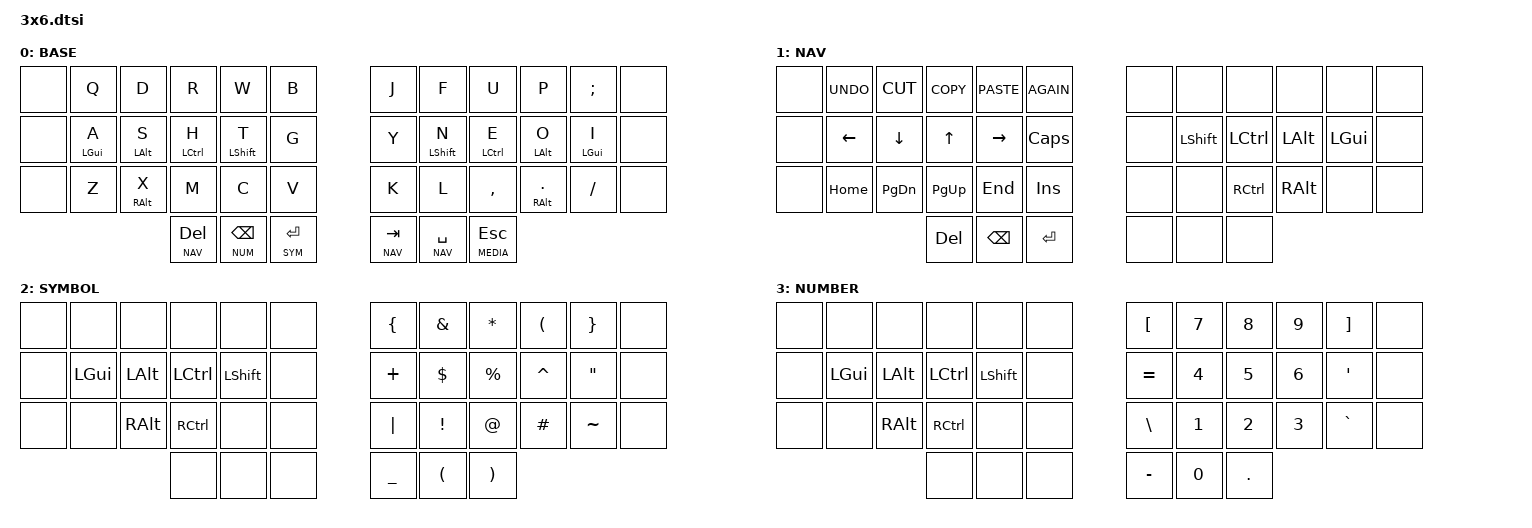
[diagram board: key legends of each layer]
#include <behaviors.dtsi>
#include <dt-bindings/zmk/keys.h>
#include <dt-bindings/zmk/bt.h>
#include <dt-bindings/zmk/rgb.h>

#include "custom.h"

// #include "shift_functions.dtsi"

// Layer aliases
#define BASE 0
#define NAV 1
#define SYM 2
#define NUM 3
#define MEDIA 4

&mt {
    flavor = "hold-preferred";
    tapping-term-ms = <U_TAPPING_TERM>;
};

&lt {
    flavor = "balanced";
    tapping-term-ms = <U_TAPPING_TERM>;
};

/ {
    keymap {
        compatible = "zmk,keymap";

        default_layer {
            display-name = "BASE";
            bindings = <
// ╭─────────────┬─────────────┬─────────────┬─────────────┬─────────────┬─────────────╮   ╭─────────────┬─────────────┬─────────────┬─────────────┬─────────────┬─────────────╮
     &none         &kp Q         &kp D         &kp R         &kp W         &kp B             &kp J         &kp F         &kp U         &kp P         &kp SEMI      &none
// ├─────────────┼─────────────┼─────────────┼─────────────┼─────────────┼─────────────┤   ├─────────────┼─────────────┼─────────────┼─────────────┼─────────────┼─────────────┤
     &none         &mt LGUI A    &mt LALT S    &mt LCTRL H   &mt LSHFT T   &kp G             &kp Y         &mt LSHFT N   &mt LCTRL E   &mt LALT O    &mt LGUI I    &none
// ├─────────────┼─────────────┼─────────────┼─────────────┼─────────────┼─────────────┤   ├─────────────┼─────────────┼─────────────┼─────────────┼─────────────┼─────────────┤
     &none         &kp Z         &mt RALT X    &kp M         &kp C         &kp V             &kp K         &kp L         &kp COMMA     &mt RALT DOT  &kp SLASH     &none
// ╰─────────────┴─────────────┴─────────────┴─────────────┼─────────────┼─────────────┤   ├─────────────┼─────────────┼─────────────┴─────────────┴─────────────┴─────────────╯
                                               &lt NAV DEL   &lt NUM BSPC  &lt SYM RET       &lt NAV TAB   &lt NAV SPACE &lt MEDIA ESC
//                                           ╰─────────────┴─────────────┴─────────────╯   ╰─────────────┴─────────────┴─────────────╯
            >;
        };

        navigation_layer {
            display-name = "NAV";
            bindings = <
// ╭─────────────┬─────────────┬─────────────┬─────────────┬─────────────┬─────────────╮   ╭─────────────┬─────────────┬─────────────┬─────────────┬─────────────┬─────────────╮
     &none         &kp K_UNDO    &kp K_CUT     &kp K_COPY    &kp K_PASTE   &kp K_AGAIN       &none         &none         &none         &none         &none         &none          
// ├─────────────┼─────────────┼─────────────┼─────────────┼─────────────┼─────────────┤   ├─────────────┼─────────────┼─────────────┼─────────────┼─────────────┼─────────────┤
     &none         &kp LEFT      &kp DOWN      &kp UP        &kp RIGHT     &kp CAPS          &none         &kp LSHFT     &kp LCTRL     &kp LALT      &kp LGUI      &none
// ├─────────────┼─────────────┼─────────────┼─────────────┼─────────────┼─────────────┤   ├─────────────┼─────────────┼─────────────┼─────────────┼─────────────┼─────────────┤
     &none         &kp HOME      &kp PG_DN     &kp PG_UP     &kp END       &kp INS           &none         &none         &kp RCTRL     &kp RALT      &none         &none
// ╰─────────────┴─────────────┴─────────────┴─────────────┼─────────────┼─────────────┤   ├─────────────┼─────────────┼─────────────┴─────────────┴─────────────┴─────────────╯
                                               &kp DEL       &kp BSPC      &kp RET           &none         &none         &none
//                                           ╰─────────────┴─────────────┴─────────────╯   ╰─────────────┴─────────────┴─────────────╯
            >;
        };

        symbol_layer {
            display-name = "SYMBOL";
            bindings = <
// ╭─────────────┬─────────────┬─────────────┬─────────────┬─────────────┬─────────────╮   ╭─────────────┬─────────────┬─────────────┬─────────────┬─────────────┬─────────────╮
     &none         &none         &none         &none         &none         &none             &kp LBRC      &kp AMPS      &kp ASTRK     &kp LPAR      &kp RBRC      &none
// ├─────────────┼─────────────┼─────────────┼─────────────┼─────────────┼─────────────┤   ├─────────────┼─────────────┼─────────────┼─────────────┼─────────────┼─────────────┤
     &none         &kp LGUI      &kp LALT      &kp LCTRL     &kp LSHFT     &none             &kp PLUS      &kp DLLR      &kp PRCNT     &kp CARET     &kp DQT       &none
// ├─────────────┼─────────────┼─────────────┼─────────────┼─────────────┼─────────────┤   ├─────────────┼─────────────┼─────────────┼─────────────┼─────────────┼─────────────┤
     &none         &none         &kp RALT      &kp RCTRL     &none         &none             &kp PIPE      &kp EXCL      &kp AT        &kp HASH      &kp TILDE     &none
// ╰─────────────┴─────────────┴─────────────┴─────────────┼─────────────┼─────────────┤   ├─────────────┼─────────────┼─────────────┴─────────────┴─────────────┴─────────────╯
                                               &none         &none         &none             &kp UNDER     &kp LPAR      &kp RPAR
//                                           ╰─────────────┴─────────────┴─────────────╯   ╰─────────────┴─────────────┴─────────────╯
            >;
        };

        number_layer {
            display-name = "NUMBER";
            bindings = <
// ╭─────────────┬─────────────┬─────────────┬─────────────┬─────────────┬─────────────╮   ╭─────────────┬─────────────┬─────────────┬─────────────┬─────────────┬─────────────╮
     &none         &none         &none         &none         &none         &none             &kp LBKT      &kp N7        &kp N8        &kp N9        &kp RBKT      &none
// ├─────────────┼─────────────┼─────────────┼─────────────┼─────────────┼─────────────┤   ├─────────────┼─────────────┼─────────────┼─────────────┼─────────────┼─────────────┤
     &none         &kp LGUI      &kp LALT      &kp LCTRL     &kp LSHFT     &none             &kp EQUAL     &kp N4        &kp N5        &kp N6        &kp SQT       &none
// ├─────────────┼─────────────┼─────────────┼─────────────┼─────────────┼─────────────┤   ├─────────────┼─────────────┼─────────────┼─────────────┼─────────────┼─────────────┤
     &none         &none         &kp RALT      &kp RCTRL     &none         &none             &kp BSLH      &kp N1        &kp N2        &kp N3        &kp GRAVE     &none
// ╰─────────────┴─────────────┴─────────────┴─────────────┼─────────────┼─────────────┤   ├─────────────┼─────────────┼─────────────┴─────────────┴─────────────┴─────────────╯
                                               &none         &none         &none             &kp MINUS     &kp N0        &kp DOT
//                                           ╰─────────────┴─────────────┴─────────────╯   ╰─────────────┴─────────────┴─────────────╯
            >;
        };

//         media_layer {
//             display-name = "MEDIA";
//             bindings = <
// // ╭─────────────┬─────────────┬─────────────┬─────────────┬─────────────┬─────────────╮   ╭─────────────┬─────────────┬─────────────┬─────────────┬─────────────┬─────────────╮
//      &none         &u_rgb_eff    &u_rgb_hui    &u_rgb_sai    &u_rgb_bri    &u_rgb_tog        &none         &none         &none         &none         &bootloader   &none
// // ├─────────────┼─────────────┼─────────────┼─────────────┼─────────────┼─────────────┤   ├─────────────┼─────────────┼─────────────┼─────────────┼─────────────┼─────────────┤
//      &none         &kp C_PREV    &kp C_VOL_DN  &kp C_VOL_UP  &kp C_NEXT    &u_ep_tog         &none         &kp LSHFT     &kp LCTRL     &kp LALT      &kp LGUI      &none
// // ├─────────────┼─────────────┼─────────────┼─────────────┼─────────────┼─────────────┤   ├─────────────┼─────────────┼─────────────┼─────────────┼─────────────┼─────────────┤
//      &none         &u_bt_sel_0   &u_bt_sel_1   &u_bt_sel_2   &none         &u_out_tog        &none         &bt BT_CLR_ALL &none        &kp RALT      &none         &none
// // ╰─────────────┴─────────────┴─────────────┴─────────────┼─────────────┼─────────────┤   ├─────────────┼─────────────┼─────────────┴─────────────┴─────────────┴─────────────╯
//                                                &kp C_MUTE    &kp C_PP      &kp C_STOP        &none         &none         &none
// //                                           ╰─────────────┴─────────────┴─────────────╯   ╰─────────────┴─────────────┴─────────────╯
//             >;
//         };
    };
};
